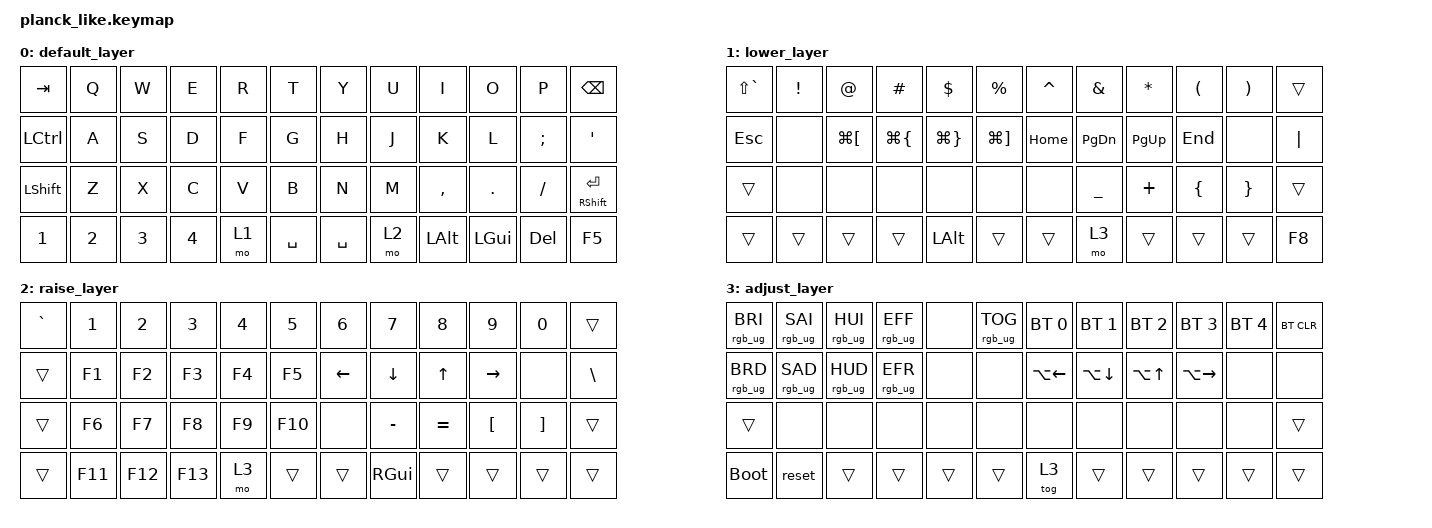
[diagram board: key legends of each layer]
/*
 * Copyright (c) 2020 The ZMK Contributors
 *
 * SPDX-License-Identifier: MIT
 */

#include <behaviors.dtsi>
#include <dt-bindings/zmk/keys.h>
#include <dt-bindings/zmk/bt.h>
#include <dt-bindings/zmk/rgb.h>

/ {
        keymap {
                compatible = "zmk,keymap";

                default_layer {
// -----------------------------------------------------------------------------------------
// |  TAB     |  Q  |  W  |  E  |  R  |  T  |  Y  |  U   |  I  |  O  |  P  |   BKSP    |
// | CTRL     |  A  |  S  |  D  |  F  |  G  |  H  |  J   |  K  |  L  |  ;  |    '      |
// | SHFT     |  Z  |  X  |  C  |  V  |  B  |  N  |  M   |  ,  |  .  |  /  | SHFT(RET) |
// | 1        |  2  |  3  |  4  | LWR |    SPC    | RSE | ALT  | GUI | DEL |   F5      |
                        bindings = <
   &kp TAB   &kp Q &kp W &kp E &kp R &kp T   &kp Y &kp U  &kp I     &kp O   &kp P    &kp BSPC
   &kp LCTRL &kp A &kp S &kp D &kp F &kp G   &kp H &kp J  &kp K     &kp L   &kp SEMI &kp SQT
   &kp LSHFT &kp Z &kp X &kp C &kp V &kp B   &kp N &kp M  &kp COMMA &kp DOT &kp FSLH &mt RSHFT RET
   &kp N1    &kp N2 &kp N3 &kp N4  &mo 1 &kp SPACE &kp SPACE &mo 2 &kp LALT &kp LGUI &kp DEL &kp F5
                        >;
                };

                lower_layer {
// ------------------------------------------------------------------------------
// | ~  |  !  |  @  |  #  |  $  |  %  |  ^  |  &  |  *  |  (  |  )  |           |
// | ESC|     |back |tleft|trght|forth| HOME| PGDN |PGUP| END |  `  |     |     |
// |    |     |     |     |     |     |  _  |  +   | {  |  }  |     |           |
//                        |     | GUI | ADJ |      |    |     |     |     F8    |
                        bindings = <
   &kp LS(GRAVE) &kp EXCL  &kp AT      &kp HASH &kp DLLR &kp PRCNT      &kp CARET &kp AMPS &kp STAR  &kp LPAR  &kp RPAR  &trans
   &kp ESC &none &kp LG(LBKT) &kp LG(LBRC) &kp LG(RBRC) &kp LG(RBKT)      &kp HOME  &kp PG_DN &kp PG_UP &kp END &none &kp PIPE
   &trans &none &none &none &none &none                                  &none &kp UNDER &kp PLUS &kp LBRC &kp RBRC &trans
   &trans &trans &trans &trans &kp LALT   &trans &trans   &mo 3       &trans &trans &trans &kp F8 
                        >;
                };

                raise_layer {
// -----------------------------------------------------------------------------------------
// | `  |  1  |  2  |  3  |  4  |  5  |  6  |  7  |  8  |  9  |  0  | DEL |
// |    |  F1 |  F2 |  F3 |  F4 |  F5 | LEFT|DOWN |  UP | RGHT|     | \   |
// |    |  F6 |  F7 |  F8 |  F9 |  F10|     | -   |  =  | [   |  ]  |     |
// |    |  F11|  F12|  F13| ADJ |    
                        bindings = <
   &kp GRAVE &kp N1    &kp N2    &kp N3    &kp N4    &kp N5        &kp N6    &kp N7    &kp N8    &kp N9    &kp N0    &trans
   &trans &kp F1 &kp F2 &kp F3 &kp F4 &kp F5     &kp LEFT   &kp DOWN    &kp UP    &kp RIGHT    &none    &kp BSLH
   &trans &kp F6 &kp F7 &kp F8 &kp F9 &kp F10     &none    &kp MINUS    &kp EQUAL  &kp LBKT  &kp RBKT   &trans
   &trans &kp F11 &kp F12 &kp F13      &mo 3    &trans   &trans    &kp RGUI   &trans &trans &trans &trans 
                        >;
                };

                adjust_layer {
// -----------------------------------------------------------------------------------------
// | RGB BRI+ | RGB SAT+ | RGB HUE+ | RGB ANI+ |    | RGB TOG |   |  BT1  | BT2 | BT3 | BT4 | BT5 | BT CLR |
// | RGB BRI- | RGB SAT- | RGB HUE- | RGB ANI+ |    |         | SALEFT  | SADN | SAUP | SARIGHT |     |     |
// |          |          |          |          |    |         |   | RESET |     |     |     |     |        |
//                                              |     |     |     |     |     |
                        bindings = <
   &rgb_ug RGB_BRI &rgb_ug RGB_SAI &rgb_ug RGB_HUI &rgb_ug RGB_EFF &none &rgb_ug RGB_TOG    &bt BT_SEL 0 &bt BT_SEL 1 &bt BT_SEL 2 &bt BT_SEL 3 &bt BT_SEL 4 &bt BT_CLR
   &rgb_ug RGB_BRD &rgb_ug RGB_SAD &rgb_ug RGB_HUD &rgb_ug RGB_EFR &none &none              &kp LA(LEFT) &kp LA(DOWN) &kp LA(UP) &kp LA(RIGHT) &none &none
   &trans           &none           &none           &none           &none &none              &none       &none        &none        &none        &none        &trans
   &bootloader &reset &trans  &trans      &trans     &trans  &tog 3        &trans      &trans &trans &trans &trans 
                        >;
                };
        };

};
